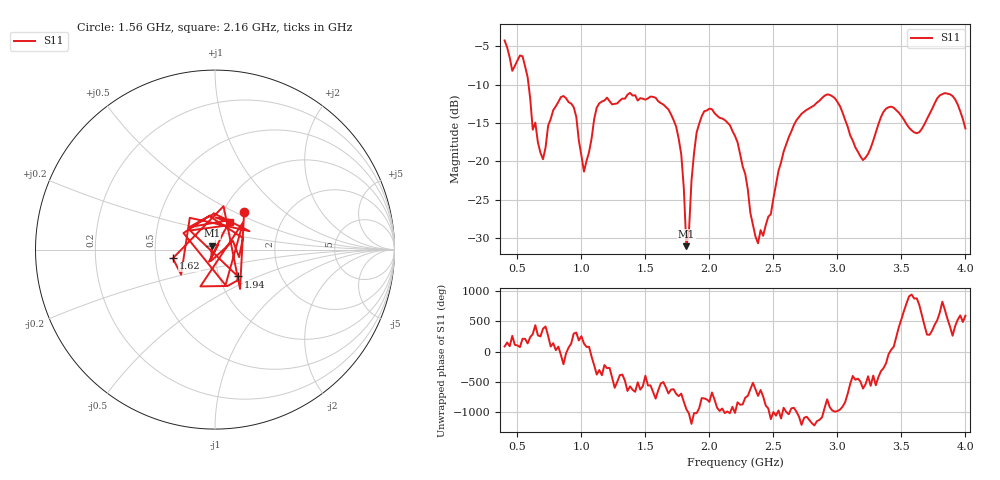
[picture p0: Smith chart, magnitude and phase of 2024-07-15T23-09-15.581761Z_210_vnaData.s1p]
!Created with skrf (http://scikit-rf.org).
# Hz S RI R 50.0
!freq ReS11 ImS11
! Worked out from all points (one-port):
!   181 points, 400 MHz to 4 GHz, reference 50 ohm
!   lowest |S11| = -31.1 dB at 1.82 GHz (marker M1), VSWR 1.06, Z = 48.3 + j2.12 ohm
!   |S11| at or under -10 dB: 587 MHz to end of sweep
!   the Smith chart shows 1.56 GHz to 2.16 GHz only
!   S11 on the Smith chart (normalised r, x): 1.56 GHz: 1.25, +0.56; 1.62 GHz: 0.62, -0.06; 1.94 GHz: 1.23, -0.38; 2.16 GHz: 1.12, +0.35
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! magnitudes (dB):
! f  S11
! 400 MHz  -4.2
! 460 MHz  -8.2
! 540 MHz  -6.3
! 620 MHz  -15.9
! 700 MHz  -19.7
! 860 MHz  -11.5
! 940 MHz  -12.9
! 1.02 GHz  -21.4
! 1.12 GHz  -13.0
! 1.3 GHz  -12.1
! 1.56 GHz  -11.6
! 1.62 GHz  -12.4
! 1.76 GHz  -17.0
! 1.8 GHz  -23.5
! 1.82 GHz  -31.1
! 1.88 GHz  -18.9
! 1.94 GHz  -14.1
! 2.16 GHz  -15.3
! 2.2 GHz  -16.7
! 2.38 GHz  -30.7
! 2.66 GHz  -15.3
! 2.94 GHz  -11.3
! 3.1 GHz  -16.6
! 3.2 GHz  -19.8
! 3.38 GHz  -13.1
! 3.56 GHz  -15.6
! 3.84 GHz  -11.1
! 4 GHz  -15.7
